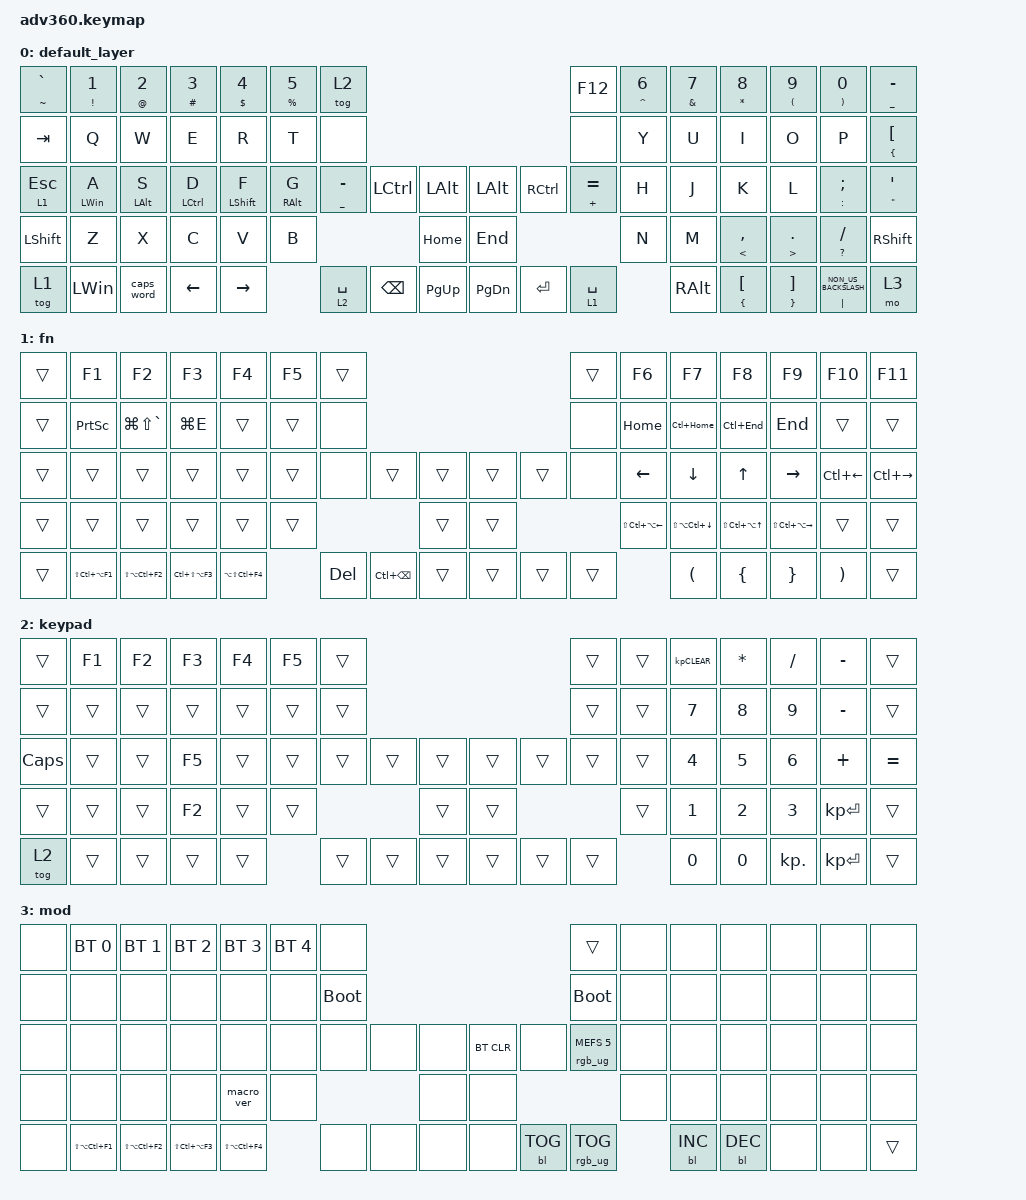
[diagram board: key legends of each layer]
#include <behaviors.dtsi>
#include <dt-bindings/zmk/backlight.h>
#include <dt-bindings/zmk/bt.h>
#include <dt-bindings/zmk/keys.h>
#include <dt-bindings/zmk/rgb.h>

/ {
    behaviors {
        #include "macros.dtsi"
      #include "version.dtsi"
      #ifndef VERSION_MACRO

        macro_ver: macro_ver {
            compatible = "zmk,behavior-macro";
            label = "macro_version";
            #binding-cells = <0>;
            bindings = <&kp RET>;
        };

        #endif

        hml: hml {
            compatible = "zmk,behavior-hold-tap";
            label = "HML";
            #binding-cells = <2>;
            tapping-term-ms = <200>;
            quick_tap_ms = <175>;
            flavor = "balanced";
            bindings = <&kp>, <&kp>;

            hold-trigger-on-release;
            hold-trigger-key-positions = <7 8 9 10 11 12 13 21 22 23 24 25 26 27 37 38 39 40 41 42 43 44 45 53 54 55 56 57 58 59 68 69 70 71 72 73 74 75 35 36 37 52 65 66 67>;
            quick-tap-ms = <200>;
        };

        hmr: hmr {
            compatible = "zmk,behavior-hold-tap";
            label = "HMR";
            #binding-cells = <2>;
            tapping-term-ms = <200>;
            quick_tap_ms = <175>;
            flavor = "balanced";
            bindings = <&kp>, <&kp>;

            hold-trigger-on-release;
            quick-tap-ms = <500>;
            hold-trigger-key-positions = <52 53 65 66 67 68 69 70 0 1 2 3 4 5 6 14 15 16 17 18 19 20 28 29 30 31 32 33 34 35 36 37 46 47 48 49 50 51 60 61 62 63 64 65 66 38>;
        };

        ht: ht {
            compatible = "zmk,behavior-hold-tap";
            label = "HT";
            bindings = <&kp>, <&kp>;

            #binding-cells = <2>;
            tapping-term-ms = <200>;
            flavor = "tap-preferred";
            quick-tap-ms = <150>;
        };
    };

    macros {
        easy_mot: easy_mot {
            compatible = "zmk,behavior-macro";
            #binding-cells = <0>;
            bindings =
                <&macro_tap>,
                <&kp NON_US_BACKSLASH &kp NON_US_BACKSLASH>;

            label = "EASY_MOTION";
        };
    };

    combos {
        compatible = "zmk,combos";

        copy {
            bindings = <&kp LC(C)>;
            key-positions = <48 49>;
        };

        paste {
            bindings = <&kp LC(V)>;
            key-positions = <49 50>;
        };

        cut {
            bindings = <&kp LC(X)>;
            key-positions = <47 48>;
        };

        vimmotion {
            bindings = <&easy_mot>;
            key-positions = <65 70>;
        };
    };

    keymap {
        compatible = "zmk,keymap";

        default_layer {
            bindings = <
&ht TILDE GRAVE  &ht EXCLAMATION NUMBER_1  &ht AT_SIGN NUMBER_2  &ht HASH NUMBER_3    &ht DOLLAR NUMBER_4  &ht PERCENT N5    &tog 2                                                                         &kp F12         &ht CARET NUMBER_6  &ht AMPERSAND N7  &ht ASTERISK N8              &ht LEFT_PARENTHESIS N9        &ht RIGHT_PARENTHESIS N0   &ht UNDERSCORE MINUS
&kp TAB          &kp Q                     &kp W                 &kp E                &kp R                &kp T             &none                                                                          &none           &kp Y               &kp U             &kp I                        &kp O                          &kp P                      &ht LEFT_BRACE LEFT_BRACKET
&lt 1 ESC        &hml LEFT_WIN A           &hml LEFT_ALT S       &hml LEFT_CONTROL D  &hml LEFT_SHIFT F    &hml RIGHT_ALT G  &ht UNDERSCORE MINUS  &kp LCTRL      &kp LALT         &kp LEFT_ALT  &kp RCTRL  &ht PLUS EQUAL  &kp H               &kp J             &kp K                        &kp L                          &ht COLON SEMICOLON        &ht DOUBLE_QUOTES SQT
&kp LSHFT        &kp Z                     &kp X                 &kp C                &kp V                &kp B                                                  &kp HOME         &kp END                                  &kp N               &kp M             &ht LESS_THAN COMMA          &ht GREATER_THAN PERIOD        &ht QUESTION SLASH         &kp RSHFT
&tog 1           &kp LEFT_WIN              &caps_word            &kp LEFT             &kp RIGHT                              &lt 2 SPACE           &kp BACKSPACE  &kp PAGE_UP      &kp PG_DN     &kp ENTER  &lt 1 SPACE                         &kp RIGHT_ALT     &ht LEFT_BRACE LEFT_BRACKET  &ht RIGHT_BRACE RIGHT_BRACKET  &ht PIPE NON_US_BACKSLASH  &mo 3
            >;
        };

        fn {
            bindings = <
&trans  &kp F1              &kp F2              &kp F3              &kp F4              &kp F5  &trans                                                     &trans  &kp F6                      &kp F7                      &kp F8                    &kp F9                       &kp F10                &kp F11
&trans  &kp PRINTSCREEN     &kp LG(LS(GRAVE))   &kp LG(E)           &trans              &trans  &none                                                      &none   &kp HOME                    &kp LC(HOME)                &kp LC(END)               &kp END                      &trans                 &trans
&trans  &trans              &trans              &trans              &trans              &trans  &none       &trans             &trans      &trans  &trans  &none   &kp LEFT_ARROW              &kp DOWN_ARROW              &kp UP_ARROW              &kp RIGHT_ARROW              &kp LC(LEFT_ARROW)     &kp LC(RIGHT_ARROW)
&trans  &trans              &trans              &trans              &trans              &trans                                 &trans      &trans                  &kp LS(LC(LA(LEFT_ARROW)))  &kp LS(LA(LC(DOWN_ARROW)))  &kp LS(LC(LA(UP_ARROW)))  &kp LS(LC(LA(RIGHT_ARROW)))  &trans                 &trans
&trans  &kp LS(LC(LA(F1)))  &kp LS(LA(LC(F2)))  &kp LC(LS(LA(F3)))  &kp LA(LS(LC(F4)))          &kp DELETE  &kp LC(BACKSPACE)  &trans      &trans  &trans  &trans                              &kp LEFT_PARENTHESIS        &kp LBRC                  &kp RBRC                     &kp RIGHT_PARENTHESIS  &trans
            >;
        };

        keypad {
            bindings = <
&trans        &kp F1  &kp F2  &kp F3  &kp F4  &kp F5  &trans                                      &trans  &trans  &kp KP_CLEAR  &kp ASTERISK  &kp SLASH     &kp MINUS     &trans
&trans        &trans  &trans  &trans  &trans  &trans  &trans                                      &trans  &trans  &kp N7        &kp N8        &kp N9        &kp MINUS     &trans
&kp CAPSLOCK  &trans  &trans  &kp F5  &trans  &trans  &trans  &trans  &trans      &trans  &trans  &trans  &trans  &kp NUMBER_4  &kp N5        &kp NUMBER_6  &kp PLUS      &kp EQUAL
&trans        &trans  &trans  &kp F2  &trans  &trans                  &trans      &trans                  &trans  &kp NUMBER_1  &kp NUMBER_2  &kp NUMBER_3  &kp KP_ENTER  &trans
&tog 2        &trans  &trans  &trans  &trans          &trans  &trans  &trans      &trans  &trans  &trans          &kp N0        &kp N0        &kp KP_DOT    &kp KP_ENTER  &trans
            >;
        };

        mod {
            bindings = <
&none  &bt BT_SEL 0        &bt BT_SEL 1        &bt BT_SEL 2        &bt BT_SEL 3        &bt BT_SEL 4  &none                                                  &trans                  &none  &none       &none       &none  &none  &none
&none  &none               &none               &none               &none               &none         &bootloader                                            &bootloader             &none  &none       &none       &none  &none  &none
&none  &none               &none               &none               &none               &none         &none        &none  &none      &bt BT_CLR  &none       &rgb_ug RGB_MEFS_CMD 5  &none  &none       &none       &none  &none  &none
&none  &none               &none               &none               &macro_ver          &none                             &none      &none                                           &none  &none       &none       &none  &none  &none
&none  &kp LS(LA(LC(F1)))  &kp LS(LA(LC(F2)))  &kp LS(LC(LA(F3)))  &kp LS(LA(LC(F4)))                &none        &none  &none      &none       &bl BL_TOG  &rgb_ug RGB_TOG                &bl BL_INC  &bl BL_DEC  &none  &none  &trans
            >;
        };
    };
};
